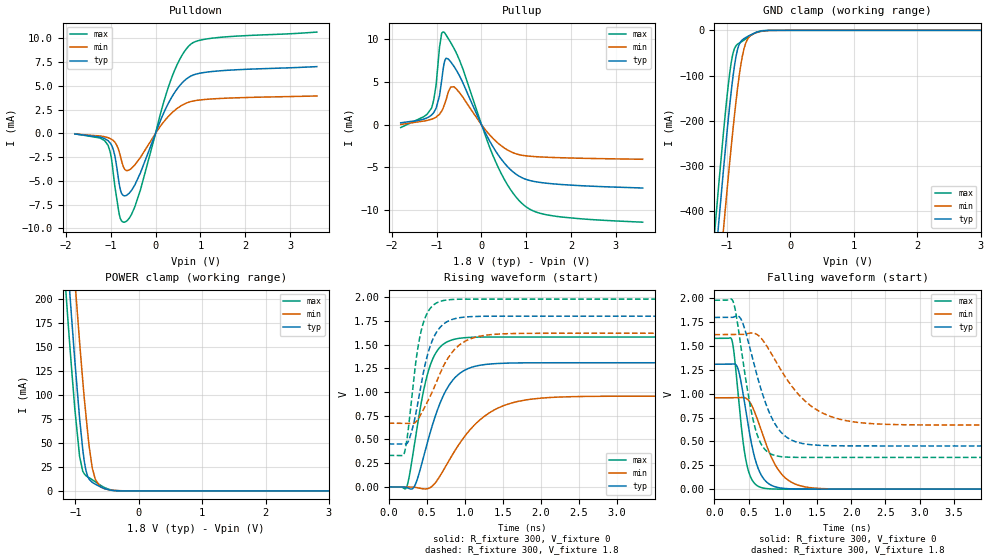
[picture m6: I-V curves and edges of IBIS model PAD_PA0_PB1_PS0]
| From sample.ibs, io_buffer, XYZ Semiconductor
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[Model]   PAD_PA0_PB1_PS0
Model_type I/O
Vinl  =  0.54
Vinh  =  1.26
Vmeas =  0.9
| Capacitance   typ   min   max
C_comp   1.4956e-12   1.4369e-12   1.5705e-12
| Variables   typ   min   max
[GND Clamp Reference]   0   0   0
[POWER Clamp Reference]   1.8   1.62   1.98
[Pulldown Reference]   0   0   0
[Pullup Reference]   1.8   1.62   1.98
[Temperature Range]   25   125   -40
[Voltage Range]   1.8   1.62   1.98
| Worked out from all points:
|   slope of the pulldown table from 0 to 0.27 V, typ, clamps not added: 89.5 ohm
|   slope of the pullup table from 0 to 0.27 V, typ, clamps not added: 100 ohm
|   GND clamp passes 1 mA (typ) near -0.42 V on its own axis
|   POWER clamp passes 1 mA (typ) near -0.46 V on its own axis
|   rising waveform, R_fixture 300, V_fixture 0: 20-80 % time 333ps typ, 563ps min, 225ps max; typ from 0 V to 1.31 V
|   rising waveform, R_fixture 300, V_fixture 1.8: 20-80 % time 223ps typ, 359ps min, 163ps max; typ from 0.453 V to 1.8 V
|   falling waveform, R_fixture 300, V_fixture 0: 20-80 % time 209ps typ, 334ps min, 146ps max; typ from 1.31 V to 0 V
|   falling waveform, R_fixture 300, V_fixture 1.8: 20-80 % time 356ps typ, 609ps min, 231ps max; typ from 1.8 V to 0.453 V
[GND Clamp]
| Voltage   I(typ)   I(min)   I(max)
-1.8V     -1.523A    -1.632A    -1.455A
-1.234V   -589.8mA   -717.8mA   -507.6mA
-1.135V   -428.7mA   -559.6mA   -344.9mA
-1.06V    -311.2mA   -442.8mA   -228.7mA
-984.8mV  -200.8mA   -329mA     -124.4mA
-934.9mV  -134.5mA   -256.7mA   -70.47mA
-860mV    -57.74mA   -157.4mA   -34.02mA
-810.1mV  -31.18mA   -101.1mA   -28.15mA
-760.2mV  -21.03mA   -57.45mA   -24.15mA
-685.3mV  -14.29mA   -21.44mA   -16.88mA
-335.8mV  -62.8uA    -254.7uA   -12.39uA
3.6V      0A         0A         0A
[POWER Clamp]
| Voltage   I(typ)   I(min)   I(max)
-1.8V     902.6mA    988.3mA    831.8mA
-1.16V    271.7mA    359mA      215.7mA
-1.135V   248.2mA    335.2mA    192.6mA
-1.085V   202mA      288.3mA    147.7mA
-1.01V    135.6mA    219.8mA    85.32mA
-934.9mV  75.71mA    155.1mA    36.09mA
-860mV    30.63mA    95.94mA    17.84mA
-785.1mV  12.25mA    46.91mA    13.77mA
-735.2mV  8.988mA    23.86mA    11.73mA
-685.3mV  6.962mA    11.83mA    9.46mA
-410.7mV  402.4uA    562.5uA    575.8uA
3.6V      0A         0A         0A
[Pullup]
| Voltage   I(typ)   I(min)   I(max)
-1.8V     215.7uA    25.55uA    -345.2uA
-1.11V    1.146mA    636.6uA    1.96mA
-1.01V    1.921mA    880.1uA    4.672mA
-934.9mV  3.375mA    1.22mA     9.046mA
-885mV    5.21mA     1.588mA    10.74mA
-835.1mV  7.106mA    2.199mA    10.86mA
-785.1mV  7.796mA    2.954mA    10.49mA
-610.4mV  6.826mA    4.44mA     8.943mA
313.3mV   -3.057mA   -1.893mA   -4.292mA
887.5mV   -6.177mA   -3.57mA    -9.149mA
1.562V    -6.925mA   -3.845mA   -10.67mA
3.6V      -7.432mA   -4.062mA   -11.44mA
[Pulldown]
| Voltage   I(typ)   I(min)   I(max)
-1.8V     -62.47uA   -70.83uA   -35.95uA
-1.06V    -760.3uA   -449.4uA   -1.25mA
-984.8mV  -1.213mA   -610.9uA   -2.616mA
-934.9mV  -1.832mA   -788.9uA   -4.524mA
-810.1mV  -5.34mA    -1.94mA    -8.513mA
-685.3mV  -6.567mA   -3.792mA   -9.328mA
-535.5mV  -5.992mA   -3.67mA    -8.519mA
-335.8mV  -4.134mA   -2.518mA   -5.923mA
338.3mV   3.622mA    2.037mA    5.575mA
737.7mV   5.896mA    3.282mA    9.174mA
1.337V    6.545mA    3.648mA    10.06mA
3.6V      7.027mA    3.935mA    10.66mA
[Ramp]
dV/dt_r   0.785496/0.3335n  0.574218/0.562695n  0.94843/0.225185n
dV/dt_f   0.808255/0.355812n  0.568881/0.60863n  0.988783/0.231151n
R_load = 300
[Rising Waveform]
R_fixture = 300
V_fixture = 0
V_fixture_min = 0
V_fixture_max = 0
| Time   V(typ)   V(min)   V(max)
0s        154.1nV    1.412uV    108.7nV
228.4ps   -4.034mV   -684uV     -15.04mV
334.3ps   -74.42uV   -2.848mV   423.9mV
456.4ps   308.8mV    -20.4mV    1.004V
556.7ps   602.9mV    -1.844mV   1.305V
712.1ps   951.6mV    165.4mV    1.5V
871.5ps   1.152V     383.7mV    1.558V
1.341ns   1.296V     790.3mV    1.58V
1.981ns   1.309V     934.5mV    1.58V
8.333ns   1.309V     957mV      1.581V
[Rising Waveform]
R_fixture = 300
V_fixture = 1.8
V_fixture_min = 1.62
V_fixture_max = 1.98
| Time   V(typ)   V(min)   V(max)
0s        452.9mV    671.9mV    332mV
202.7ps   452mV      671.1mV    346.6mV
245.4ps   461.4mV    670.9mV    527mV
309.4ps   605.5mV    669.3mV    983.9mV
430.9ps   1.097V     776mV      1.657V
548.2ps   1.49V      958mV      1.884V
694.9ps   1.698V     1.231V     1.96V
968ps     1.788V     1.518V     1.979V
1.431ns   1.799V     1.611V     1.979V
8.333ns   1.8V       1.62V      1.98V
[Falling Waveform]
R_fixture = 300
V_fixture = 0
V_fixture_min = 0
V_fixture_max = 0
| Time   V(typ)   V(min)   V(max)
0s        1.309V     957mV      1.581V
253.8ps   1.31V      957.8mV    1.565V
351.3ps   1.245V     959mV      961.1mV
409.9ps   1.038V     960.9mV    547.7mV
465.1ps   795.2mV    951.4mV    285.1mV
576.7ps   363.3mV    827.6mV    68.37mV
694.3ps   135.3mV    596.7mV    14.78mV
993.9ps   9.762mV    147.9mV    590.3uV
1.42ns    843.4uV    13.99mV    556.1uV
8.333ns   262.3nV    1.665uV    170.9nV
[Falling Waveform]
R_fixture = 300
V_fixture = 1.8
V_fixture_min = 1.62
V_fixture_max = 1.98
| Time   V(typ)   V(min)   V(max)
0s        1.8V       1.62V      1.98V
273.5ps   1.802V     1.621V     1.965V
404ps     1.759V     1.621V     1.409V
589.8ps   1.278V     1.632V     653.5mV
708.8ps   983.9mV    1.559V     442.4mV
882.1ps   687.8mV    1.359V     353.4mV
1.086ns   530.3mV    1.123V     335mV
1.406ns   466.3mV    875.5mV    332.9mV
2.086ns   453.4mV    700.3mV    332.8mV
8.333ns   452.9mV    671.9mV    332mV
